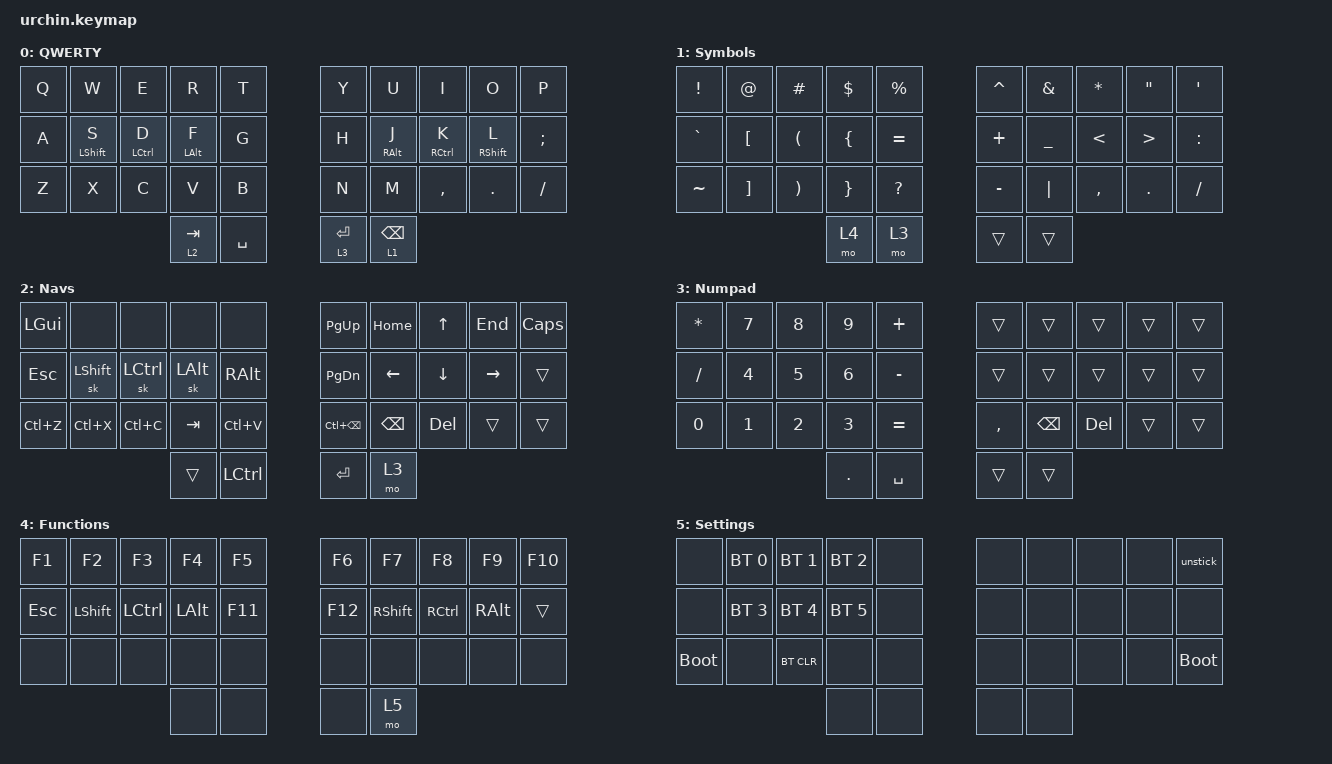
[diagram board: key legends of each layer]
/*
 * Copyright (c) 2020 duckyb
 *
 * SPDX-License-Identifier: MIT
 */

#include <behaviors.dtsi>
#include <dt-bindings/zmk/bt.h>
#include <dt-bindings/zmk/keys.h>

// Layer definitions

#define BASE 0
#define SYM 1
#define EXT 2
#define FNC 3
#define SYM2 4
#define ACCENT 5
#define SETTINGS 6

// -----------------

&sk {
    // don't release mods on other mods presses

    ignore-modifiers;
};

&lt {
    quick-tap-ms = <200>;
};

&mt {
    quick-tap-ms = <200>;
    flavor = "tap-preferred";
};

&caps_word {
    continue-list = <UNDERSCORE MINUS BACKSPACE DELETE PLUS>;
};

/ {
    behaviors {
        // Enables holding the first mod-tap key
        // by performing a tap-release-hold sequence.
        // To use it: "&qt KEYCODE1 KEYCODE2"

        hm: homerow_mods {
            compatible = "zmk,behavior-hold-tap";
            label = "HOMEROW_MODS";
            #binding-cells = <2>;
            tapping-term-ms = <180>;
            quick-tap-ms = <190>;
            flavor = "tap-preferred";
            bindings = <&kp>, <&kp>;
        };
        hmr: hmr {
            compatible = "zmk,behavior-hold-tap";
            label = "Home Row Mod - Right";
            #binding-cells = <2>;
            tapping-term-ms = <190>;
            quick-tap-ms = <200>;
            flavor = "tap-preferred";
            bindings = <&kp>, <&kp>;

            hold-trigger-key-positions = <0 1 2 3 4 10 11 12 13 14 20 21 22 23 24 30 31>;
        };
        hml: hml {
            compatible = "zmk,behavior-hold-tap";
            label = "Home Row Mods - Left";
            #binding-cells = <2>;
            tapping-term-ms = <190>;
            quick-tap-ms = <200>;
            flavor = "tap-preferred";
            bindings = <&kp>, <&kp>;

            hold-trigger-key-positions = <5 6 7 8 9 15 16 17 18 19 25 26 27 28 29 32 33>;
        };
    };

    macros {
        // sometimes my device thinks a modifier is being held down
        // pressing all modifiers fixes it.

        unstick: unstick {
            label = "ZM_unstick";
            compatible = "zmk,behavior-macro";
            #binding-cells = <0>;
            bindings = <&kp LSHIFT &kp RSHIFT &kp LCTRL &kp RCTRL &kp LALT &kp RALT &kp LGUI &kp RGUI>;
        };
        up_dir: up_dir {
            compatible = "zmk,behavior-macro";
            label = "UP_DIR";
            #binding-cells = <0>;
            bindings = <&kp DOT &kp DOT &kp FSLH>;
        };
    };

    combos {
        compatible = "zmk,combos";

        // both right thumb keys

        combo_toggle_numpad {
            key-positions = <32 33>;
            bindings = <&tog 3>;
            layers = <0 3>;
            require-prior-idle-ms = <250>;
            timeout-ms = <150>;
        };

        // internal-left & external-right thumb keys
        // combo_sym2 {
        //     timeout-ms = <200>;
        //     key-positions = <31 33>;
        //     bindings = <&mo SYM2>;
        // };
        // both left thumb keys

        combo_settings {
            timeout-ms = <150>;
            key-positions = <24 30>;
            layers = <0>;
            bindings = <&mo 5>;
        };

        // left index & middle fingers (home-row)
        // hold control & space for Adobe workflow

        combo_caps_word {
            bindings = <&caps_word>;
            key-positions = <27 28>;
            timeout-ms = <250>;
            layers = <0>;
            require-prior-idle-ms = <150>;
        };
    };

    keymap {
        compatible = "zmk,keymap";

        // +-----------------------------+   +-----------------------------+
        // |  0  |  1 |  2  |  3  |   4  |   |  5   |   6  |  7   |   8  |  9   |
        // |-----------------------------|   |-----------------------------|
        // |  10 |  11 |  12 |  13 |  14 |   |  15  |  16 |  17  |  18 |  19  |
        // |-----------------------------|   |-----------------------------|
        // |  20 | 21  |  22 |  23 | 24  |   |  25   |  26  |  27   |  28   |  29   |
        // +-----------------------------|   |-----------------------------+
        //                   |  30 |  31 |   |  32  | 33  |
        //                   +-----------+   +-----------+
        // Base alpha layer

        BASE {
            label = "QWERTY";
            bindings = <
&kp Q    &kp W           &kp E           &kp R              &kp T                   &kp Y          &kp U               &kp I           &kp O           &kp P
&kp A    &hml LSHFT S    &hml LCTRL D    &hml LEFT_ALT F    &kp G                   &kp H          &hmr RIGHT_ALT J    &hmr RCTRL K    &hmr RSHFT L    &kp SEMICOLON
&kp Z    &kp X           &kp C           &kp V              &kp B                   &kp N          &kp M               &kp COMMA       &kp DOT         &kp FSLH
                                         &lt 2 TAB          &kp SPACE               &lt 3 ENTER    &lt 1 BACKSPACE
            >;
        };

        SYM {

            // +-----------------------------+   +-----------------------------+
            // |  !  |  @  |  #  |  $  |  %  |   |  ^  |  &  |  *  |  "  |  '  |
            // |-----------------------------|   |-----------------------------|
            // |  `  |  [  |  (  |  {  |  =  |   |  +  |  _  |  <  |  >  |  :  |
            // |-----------------------------|   |-----------------------------|
            // |  ~  |  ]  |  )  |  }  |  ?  |   |  -  |  |  |  ,  |  .  |  /  |
            // +-----------------------------|   |-----------------------------+
            //                   |  4  |  3  |   |     |     |
            //                   +-----------+   +-----------+
            label = "Symbols";
            bindings = <
&kp EXCLAMATION    &kp AT_SIGN          &kp POUND                &kp DOLLAR         &kp PERCENT     &kp CARET    &kp AMPERSAND     &kp ASTERISK     &kp DOUBLE_QUOTES    &kp SQT
&kp GRAVE          &kp LEFT_BRACKET     &kp LEFT_PARENTHESIS     &kp LEFT_BRACE     &kp EQUAL       &kp PLUS     &kp UNDERSCORE    &kp LESS_THAN    &kp GREATER_THAN     &kp COLON
&kp TILDE          &kp RIGHT_BRACKET    &kp RIGHT_PARENTHESIS    &kp RIGHT_BRACE    &kp QUESTION    &kp MINUS    &kp PIPE          &kp COMMA        &kp PERIOD           &kp SLASH
                                                                 &mo 4              &mo 3           &trans       &trans
            >;
        };

        NAV {
            // +----------------------------------+   +---------------------------------+
            // |  LGUI |      |      |      |      |   | PGUP | HOME |  ^   | END  |CAPS |
            // |----------------------------------|   |---------------------------------|
            // |  ESC | SHFT | CTRL | ALT  |      |   | PGDN |  <   |  v   |  >   |     |
            // |----------------------------------|   |---------------------------------|
            // |      |      |      | TAB  | PSTE |   |      |  BKSP  |  DEl  |      |     |
            // +----------------------------------|   |---------------------------------+
            //                      |      |      |   |      |      |
            //                      +-------------+   +-------------+
            label = "Navs";
            bindings = <
&kp LEFT_GUI    &none            &none        &none           &none        &kp PG_UP       &kp HOME    &kp UP      &kp END      &kp CAPS
&kp ESC         &sk LSHFT        &sk LCTRL    &sk LALT        &kp RALT     &kp PG_DN       &kp LEFT    &kp DOWN    &kp RIGHT    &trans
&kp LC(Z)       &kp LC(X)        &kp LC(C)    &kp TAB         &kp LC(V)    &kp LC(BSPC)    &kp BSPC    &kp DEL     &trans       &trans
                                              &trans          &kp LCTRL    &kp ENTER       &mo 3
            >;
        };

        NUM {
            // +-----------------------------+   +-----------------------------+
            // |  *  |  7  |  8  |  9  |  +  |   |     |     |     |     | <-  |
            // |-----------------------------|   |-----------------------------|
            // |  /  |  4  |  5  |  6  |  -  |   |     |     |     |     |     |
            // |-----------------------------|   |-----------------------------|
            // |  0  |  1  |  2  |  3  |  =  |   |   ,  |BKSP| DEL |     |     |
            // +-----------------------------|   |-----------------------------+
            //                   |  .  | SPC |   |     |     |
            //                   +-----------+   +-----------+

            label = "Numpad";
            bindings = <
&kp ASTERISK    &kp N7    &kp N8    &kp N9    &kp PLUS     &trans       &trans           &trans    &trans    &trans
&kp SLASH       &kp N4    &kp N5    &kp N6    &kp MINUS    &trans       &trans           &trans    &trans    &trans
&kp N0          &kp N1    &kp N2    &kp N3    &kp EQUAL    &kp COMMA    &kp BACKSPACE    &kp DEL   &trans    &trans
                                    &kp DOT    &kp SPC      &trans    &trans
            >;

        };

        FNC {
            // +-----------------------------+   +-----------------------------+
            // |     |     |     |     |     |   |     |     |     |     |     |
            // |-----------------------------|   |-----------------------------|
            // |     |     |     |     |     |   |     |     |     |     |     |
            // |-----------------------------|   |-----------------------------|
            // |     |     |     |     |     |   |     |     |     |     |     |
            // +-----------------------------|   |-----------------------------+
            //                   |     |     |   |     |     |
            //                   +-----------+   +-----------+

            label = "Functions";
            bindings = <
&kp F1     &kp F2            &kp F3       &kp F4          &kp F5     &kp F6     &kp F7          &kp F8             &kp F9    &kp F10
&kp ESC    &kp LEFT_SHIFT    &kp LCTRL    &kp LEFT_ALT    &kp F11    &kp F12    &kp RIGHT_SHIFT    &kp RCTRL    &kp RIGHT_ALT    &trans
&none      &none             &none        &none           &none      &none      &none           &none              &none     &none
                                          &none           &none      &none      &mo 5
            >;
        };

        SETT {
            label = "Settings";
            bindings = <
                &none          &bt BT_SEL 0    &bt BT_SEL 1    &bt BT_SEL 2    &none     &none    &none    &none    &none    &unstick
                &none          &bt BT_SEL 3    &bt BT_SEL 4    &bt BT_SEL 5    &none     &none    &none    &none    &none    &none
                &bootloader    &none           &bt BT_CLR      &none           &none     &none    &none    &none    &none    &bootloader
                                                               &none           &none     &none    &none
            >;
        };
    };
};
